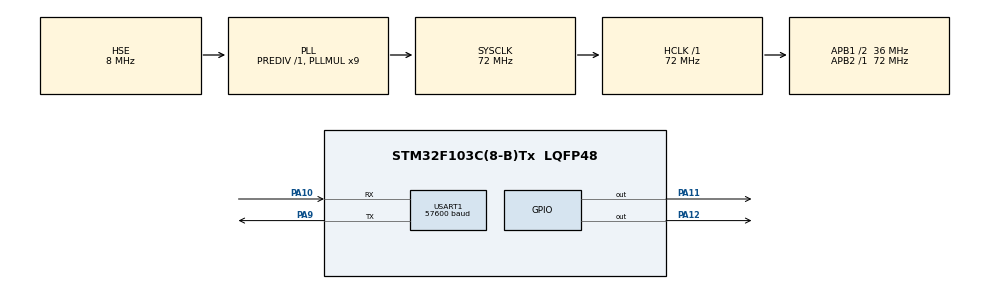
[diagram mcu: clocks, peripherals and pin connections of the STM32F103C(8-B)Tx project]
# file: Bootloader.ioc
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Dma.Request0=USART1_TX
Dma.USART1_TX.0.Direction=DMA_MEMORY_TO_PERIPH
Dma.USART1_TX.0.Instance=DMA1_Channel4
Dma.USART1_TX.0.MemDataAlignment=DMA_MDATAALIGN_BYTE
Dma.USART1_TX.0.MemInc=DMA_MINC_ENABLE
Dma.USART1_TX.0.Mode=DMA_NORMAL
Dma.USART1_TX.0.PeriphDataAlignment=DMA_PDATAALIGN_BYTE
Dma.USART1_TX.0.PeriphInc=DMA_PINC_DISABLE
Dma.USART1_TX.0.Priority=DMA_PRIORITY_LOW
Mcu.Family=STM32F1
Mcu.Name=STM32F103C(8-B)Tx
Mcu.Package=LQFP48
NVIC.DMA1_Channel4_IRQn=true\:0\:0\:false\:false\:true\:false
NVIC.PriorityGroup=NVIC_PRIORITYGROUP_4
NVIC.USART1_IRQn=true\:0\:0\:false\:false\:true\:true
PA10.Mode=Asynchronous
PA10.Signal=USART1_RX
PA11.Signal=GPIO_Output
PA12.Signal=GPIO_Output
PA13.Mode=Serial_Wire
PA13.Signal=SYS_JTMS-SWDIO
PA14.Mode=Serial_Wire
PA14.Signal=SYS_JTCK-SWCLK
PA9.Mode=Asynchronous
PA9.Signal=USART1_TX
PD0-OSC_IN.Mode=HSE-External-Oscillator
PD0-OSC_IN.Signal=RCC_OSC_IN
PD1-OSC_OUT.Mode=HSE-External-Oscillator
PD1-OSC_OUT.Signal=RCC_OSC_OUT
ProjectManager.HeapSize=0x200
ProjectManager.StackSize=0x400
ProjectManager.TargetToolchain=MDK-ARM V5
RCC.48MHZClocksFreq_Value=32000000
RCC.AHBFreq_Value=72000000
RCC.APB1CLKDivider=RCC_HCLK_DIV2
RCC.APB1Freq_Value=36000000
RCC.APB1TimFreq_Value=72000000
RCC.APB2Freq_Value=72000000
RCC.APB2TimFreq_Value=72000000
RCC.HCLKFreq_Value=72000000
RCC.HSI_VALUE=16000000
RCC.LSE_VALUE=32768
RCC.MSI_VALUE=2097000
RCC.PLLDIV=RCC_PLL_DIV4
RCC.PLLMUL=RCC_PLL_MUL9
RCC.PLLSourceVirtual=RCC_PLLSOURCE_HSE
RCC.SYSCLKFreq_VALUE=72000000
RCC.SYSCLKSource=RCC_SYSCLKSOURCE_PLLCLK
RCC.USBFreq_Value=72000000
RCC.VCOOutputFreq_Value=64000000
USART1.BaudRate=57600
USART1.VirtualMode=VM_ASYNC
board=Bootloader

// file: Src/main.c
/**
  ******************************************************************************
  * @file           : main.c
  * @brief          : Main program body
  ******************************************************************************
  ** This notice applies to any and all portions of this file
  * that are not between comment pairs USER CODE BEGIN and
  * USER CODE END. Other portions of this file, whether
  * inserted by the user or by software development tools
  * are owned by their respective copyright owners.
  *
  * COPYRIGHT(c) 2018 STMicroelectronics
  *
  * Redistribution and use in source and binary forms, with or without modification,
  * are permitted provided that the following conditions are met:
  *   1. Redistributions of source code must retain the above copyright notice,
  *      this list of conditions and the following disclaimer.
  *   2. Redistributions in binary form must reproduce the above copyright notice,
  *      this list of conditions and the following disclaimer in the documentation
  *      and/or other materials provided with the distribution.
  *   3. Neither the name of STMicroelectronics nor the names of its contributors
  *      may be used to endorse or promote products derived from this software
  *      without specific prior written permission.
  *
  * THIS SOFTWARE IS PROVIDED BY THE COPYRIGHT HOLDERS AND CONTRIBUTORS "AS IS"
  * AND ANY EXPRESS OR IMPLIED WARRANTIES, INCLUDING, BUT NOT LIMITED TO, THE
  * IMPLIED WARRANTIES OF MERCHANTABILITY AND FITNESS FOR A PARTICULAR PURPOSE ARE
  * DISCLAIMED. IN NO EVENT SHALL THE COPYRIGHT HOLDER OR CONTRIBUTORS BE LIABLE
  * FOR ANY DIRECT, INDIRECT, INCIDENTAL, SPECIAL, EXEMPLARY, OR CONSEQUENTIAL
  * DAMAGES (INCLUDING, BUT NOT LIMITED TO, PROCUREMENT OF SUBSTITUTE GOODS OR
  * SERVICES; LOSS OF USE, DATA, OR PROFITS; OR BUSINESS INTERRUPTION) HOWEVER
  * CAUSED AND ON ANY THEORY OF LIABILITY, WHETHER IN CONTRACT, STRICT LIABILITY,
  * OR TORT (INCLUDING NEGLIGENCE OR OTHERWISE) ARISING IN ANY WAY OUT OF THE USE
  * OF THIS SOFTWARE, EVEN IF ADVISED OF THE POSSIBILITY OF SUCH DAMAGE.
  *
  ******************************************************************************
  */
#include "main.h"
#include "stm32f1xx_hal.h"
#include "dma.h"
#include "usart.h"
#include "gpio.h"

/* USER CODE BEGIN Includes */
#include "serial.h"
#include "stm32bl.h"
#include "parser.h"
/* USER CODE END Includes */

/* USER CODE BEGIN PV */
/* Private variables ---------------------------------------------------------*/
extern 	Serial 		serial; 		/* from serial.h */
extern  STM32BL 	flash;			/* from stm32bl.h */
extern 	uint8_t 	RS485_ADDR;	/* from parser.h */

uint8_t txOK[] = "OK";
uint8_t txERROR[] = "ERROR";

/* USER CODE END PV */

void SystemClock_Config(void);

/* USER CODE BEGIN PFP */
/* Private function prototypes -----------------------------------------------*/

void send_OK()
{
	Serial_send_response(txOK, COUNTOF(txOK) - 1);
}
void send_ERROR()
{
	Serial_send_response(txERROR, COUNTOF(txERROR) - 1);
}

/* USER CODE END PFP */

int main(void)
{
  /* USER CODE BEGIN 1 */

	STM32BL_backup_enable();			/* enable use backup CPU regs */

	STM32BL_check_start_backup();	/* check start conditions */

  /* USER CODE END 1 */

  /* MCU Configuration----------------------------------------------------------*/

  /* Reset of all peripherals, Initializes the Flash interface and the Systick. */
  HAL_Init();

  /* Configure the system clock */
  SystemClock_Config();

  /* Initialize all configured peripherals */
  MX_GPIO_Init();
  MX_DMA_Init();
  MX_USART1_UART_Init();
  /* USER CODE BEGIN 2 */

	RS485_ADDR = (uint8_t)STM32BL_Flash_Read32(STM32BL_FLASH_SETTINGS_ADDR);

	Serial_init();
	STM32BL_flash_init();

	Serial_ready_to_receive();

	if (flash.StartFlag == false) // if false - it's not first entry, so send OK
		send_OK();

  /* USER CODE END 2 */

  /* Infinite loop */
  /* USER CODE BEGIN WHILE */
  while (1)
  {
		if (serial.Ready)
		{
			serial.Ready = false;

			switch (Parser_check_request(serial.buffer, serial.numberRx)) {

				case STM32BL_CMD_RESTART:

						__disable_irq();
						STM32BL_backup_write_reg(STM32BL_BACKUP_MAIN_REG, STM32BL_BACKUP_REG_VAL);
						HAL_NVIC_SystemReset();
						break;

				case STM32BL_CMD_ERASE:

						STM32BL_Flash_Erase();
						Serial_ready_to_receive();
						send_OK();
						break;

				case STM32BL_CMD_FLASH:

						if (STM32BL_Flash_Write(serial.buffer,
																		serial.numberRx - CMD_NUBM_PROTOCOL_BYTES,
																		CMD_NUMB_START_BYTES + 2) == STM32BL_FLASH_RES_OK)
						{
							Serial_ready_to_receive();
							send_OK();
						}
						else
						{
							Serial_ready_to_receive();
							send_ERROR();
						}
						break;

				case STM32BL_CMD_FLASHCRC:

						if (STM32BL_Flash_Write32(STM32BL_FLASH_CRC_ADDR, STM32BL_FLASH_CRC_VAL) == STM32BL_FLASH_RES_OK)
						{
							Serial_ready_to_receive();
							HAL_Delay(5);
							send_OK();
						}
						else
						{
							Serial_ready_to_receive();
							HAL_Delay(5);
							send_ERROR();
						}
						break;

				case STM32BL_CMD_READDATA:
				{
					/* read num of Words in Page */
//						uint8_t Page 	= Parser_GetData16(serial.buffer) >> 8;
//						uint8_t Words = Parser_GetData16(serial.buffer);
//
//						Serial_ready_to_receive();
//						STM32BL_Flash_Read(Page, Words);//page and words
//						HAL_Delay(1);
//						Serial_send_response32(flash.buffer, Words);

					/* now in READDATA read only 1 reg settings - RS485 addr*/
						Serial_ready_to_receive();
						flash.buffer[0] = STM32BL_Flash_Read32(STM32BL_FLASH_SETTINGS_ADDR);//page and words
						HAL_Delay(5);
						Serial_send_response32(flash.buffer, 1);
						break;
				}
				case STM32BL_CMD_WRITE_1REG: //only rs485_addr
				{
						uint8_t rs485_new_addr = Parser_GetData16(serial.buffer);

						STM32BL_Flash_ErasePage(STM32BL_FLASH_SETTINGS_ADDR);
						if (STM32BL_Flash_Write32(STM32BL_FLASH_SETTINGS_ADDR, rs485_new_addr) == STM32BL_FLASH_RES_OK)
						{
							/*update new address*/
							RS485_ADDR = (uint8_t)STM32BL_Flash_Read32(STM32BL_FLASH_SETTINGS_ADDR);
							Serial_ready_to_receive();
							send_OK();
						}
						else
						{
							Serial_ready_to_receive();
							send_ERROR();
						}
						break;
				}
				case STM32BL_CMD_GOTOAPP:

						HAL_Delay(5);
						if (STM32BL_Flash_CheckCRC())
						{
							send_OK();
							STM32BL_reset_and_go_to_app();
						}
						else
						{
							Serial_ready_to_receive();
							send_ERROR();
						}
						break;

				default:
						Serial_ready_to_receive();
						break;

			} //end of switch
		}
  /* USER CODE END WHILE */

  }

}

void SystemClock_Config(void)
{

  RCC_OscInitTypeDef RCC_OscInitStruct;
  RCC_ClkInitTypeDef RCC_ClkInitStruct;

    /**Initializes the CPU, AHB and APB busses clocks
    */
  RCC_OscInitStruct.OscillatorType = RCC_OSCILLATORTYPE_HSE;
  RCC_OscInitStruct.HSEState = RCC_HSE_ON;
  RCC_OscInitStruct.HSEPredivValue = RCC_HSE_PREDIV_DIV1;
  RCC_OscInitStruct.HSIState = RCC_HSI_ON;
  RCC_OscInitStruct.PLL.PLLState = RCC_PLL_ON;
  RCC_OscInitStruct.PLL.PLLSource = RCC_PLLSOURCE_HSE;
  RCC_OscInitStruct.PLL.PLLMUL = RCC_PLL_MUL9;
  if (HAL_RCC_OscConfig(&RCC_OscInitStruct) != HAL_OK)
  {
    _Error_Handler(__FILE__, __LINE__);
  }

    /**Initializes the CPU, AHB and APB busses clocks
    */
  RCC_ClkInitStruct.ClockType = RCC_CLOCKTYPE_HCLK|RCC_CLOCKTYPE_SYSCLK
                              |RCC_CLOCKTYPE_PCLK1|RCC_CLOCKTYPE_PCLK2;
  RCC_ClkInitStruct.SYSCLKSource = RCC_SYSCLKSOURCE_PLLCLK;
  RCC_ClkInitStruct.AHBCLKDivider = RCC_SYSCLK_DIV1;
  RCC_ClkInitStruct.APB1CLKDivider = RCC_HCLK_DIV2;
  RCC_ClkInitStruct.APB2CLKDivider = RCC_HCLK_DIV1;

  if (HAL_RCC_ClockConfig(&RCC_ClkInitStruct, FLASH_LATENCY_2) != HAL_OK)
  {
    _Error_Handler(__FILE__, __LINE__);
  }

    /**Configure the Systick interrupt time
    */
  HAL_SYSTICK_Config(HAL_RCC_GetHCLKFreq()/1000);

    /**Configure the Systick
    */
  HAL_SYSTICK_CLKSourceConfig(SYSTICK_CLKSOURCE_HCLK);

  /* SysTick_IRQn interrupt configuration */
  HAL_NVIC_SetPriority(SysTick_IRQn, 0, 0);
}

/* USER CODE BEGIN 4 */
void HAL_SYSTICK_Callback(void)
{
	Serial_ready();
	STM32BL_check_starttimer();
}

/* USER CODE END 4 */

void _Error_Handler(char *file, int line)
{
  while(1)
  {
  }
}

/************************ (C) COPYRIGHT STMicroelectronics *****END OF FILE****/
